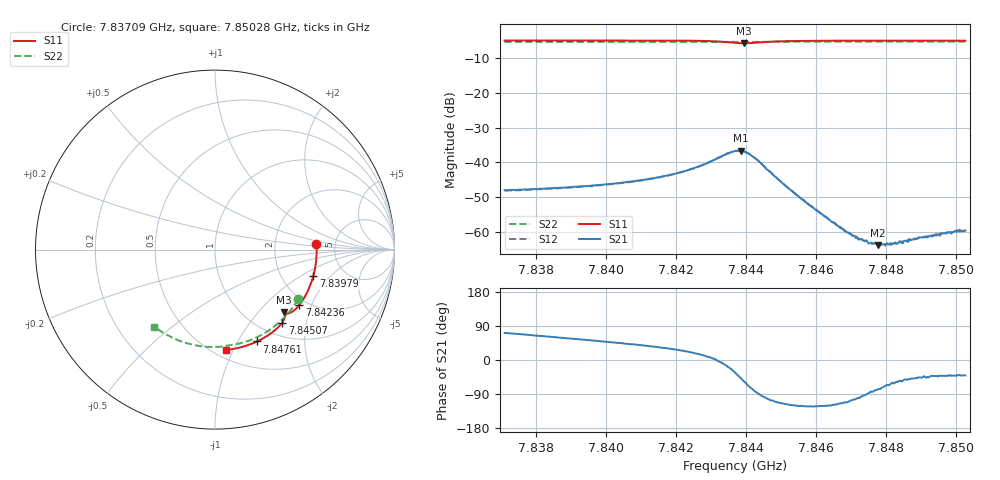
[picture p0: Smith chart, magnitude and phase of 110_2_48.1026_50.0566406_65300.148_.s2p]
#  HZ  S  RI  R  50.00
! Rohde & Schwarz Vector Network Analyzer
! Rohde-Schwarz,ZNB20-2Port,1311601062101988,3.16
! Created: UTC 12/23/2023, 3:45:39 AM
! freq[Hz]  re:S11  im:S11  re:S21  im:S21  re:S12  im:S12  re:S22  im:S22
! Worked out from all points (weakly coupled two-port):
!   401 points, 7.83709 GHz to 7.85028 GHz, reference 50 ohm
!   highest |S21| = -36.61 dB at 7.84385 GHz (marker M1); lowest = -63.9 dB at 7.84777 GHz (marker M2)
!   lowest |S11| = -5.7 dB at 7.84395 GHz (marker M3), VSWR 3.13, Z = 73.1 - j69.1 ohm
!   |S11| at or under -10 dB: nowhere
!   |S22| runs from -5.4 to -5.3 dB; largest |S21 - S12| = 0.00031
!   S11 on the Smith chart (normalised r, x): 7.83709 GHz: 3.58, +0.31; 7.83979 GHz: 2.98, -1.31; 7.84236 GHz: 1.81, -1.64; 7.84507 GHz: 1.25, -1.46; 7.84761 GHz: 0.81, -1.21; 7.85028 GHz: 0.57, -0.94
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7.83709e9  0.5655 0.0295  0.00127 0.00377  0.00126 0.00369  0.4639 -0.2756
7.839299e9  0.5548 -0.1168  0.00266 0.00365  0.00263 0.00358  0.3674 -0.396
7.839793e9  0.5469 -0.1491  0.00303 0.0036  0.00298 0.00358  0.3416 -0.419
7.840551e9  0.531 -0.1979  0.00377 0.00352  0.00368 0.00351  0.2988 -0.4508
7.841507e9  0.5033 -0.2578  0.00505 0.00337  0.00505 0.00338  0.2409 -0.4846
7.842364e9  0.4695 -0.3095  0.00726 0.00281  0.00723 0.00286  0.1855 -0.5086
7.842826e9  0.4452 -0.3352  0.00919 0.0018  0.00925 0.00184  0.1545 -0.5186
7.843188e9  0.4211 -0.3514  0.0115 -0.000422  0.0114 -0.000295  0.13 -0.5247
7.843683e9  0.3864 -0.354  0.0121 -0.00801  0.0122 -0.00791  0.0968 -0.5304
7.843848e9  0.3819 -0.349  0.00987 -0.011  0.00989 -0.0108  0.0863 -0.5319
7.843947e9  0.3824 -0.347  0.00777 -0.012  0.00787 -0.0119  0.0801 -0.5331
7.844078e9  0.3853 -0.347  0.00482 -0.0125  0.00482 -0.0124  0.0717 -0.5348
7.844309e9  0.3906 -0.3562  0.000771 -0.0109  0.00079 -0.0108  0.0566 -0.5376
7.845067e9  0.3745 -0.4064  -0.00208 -0.00439  -0.00208 -0.00442  0.00349 -0.5427
7.845892e9  0.3336 -0.4496  -0.00123 -0.00192  -0.00124 -0.00194  -0.0547 -0.5408
7.846749e9  0.2854 -0.4842  -0.000446 -0.00101  -0.000454 -0.00102  -0.1143 -0.532
7.847177e9  0.2601 -0.4988  -0.000153 -0.000802  -0.00017 -0.000824  -0.1436 -0.5253
7.847606e9  0.2341 -0.5117  6.8e-05 -0.000691  6.33e-05 -0.000662  -0.1724 -0.5168
7.847771e9  0.224 -0.5163  0.000143 -0.00062  0.00017 -0.000664  -0.1834 -0.5129
7.8481e9  0.2037 -0.5248  0.000282 -0.000605  0.000275 -0.000625  -0.2051 -0.505
7.849979e9  0.0827 -0.5566  0.000773 -0.000678  0.000791 -0.000653  -0.3206 -0.4419
7.850276e9  0.063 -0.5589  0.000791 -0.000677  0.000797 -0.000695  -0.3373 -0.4296
